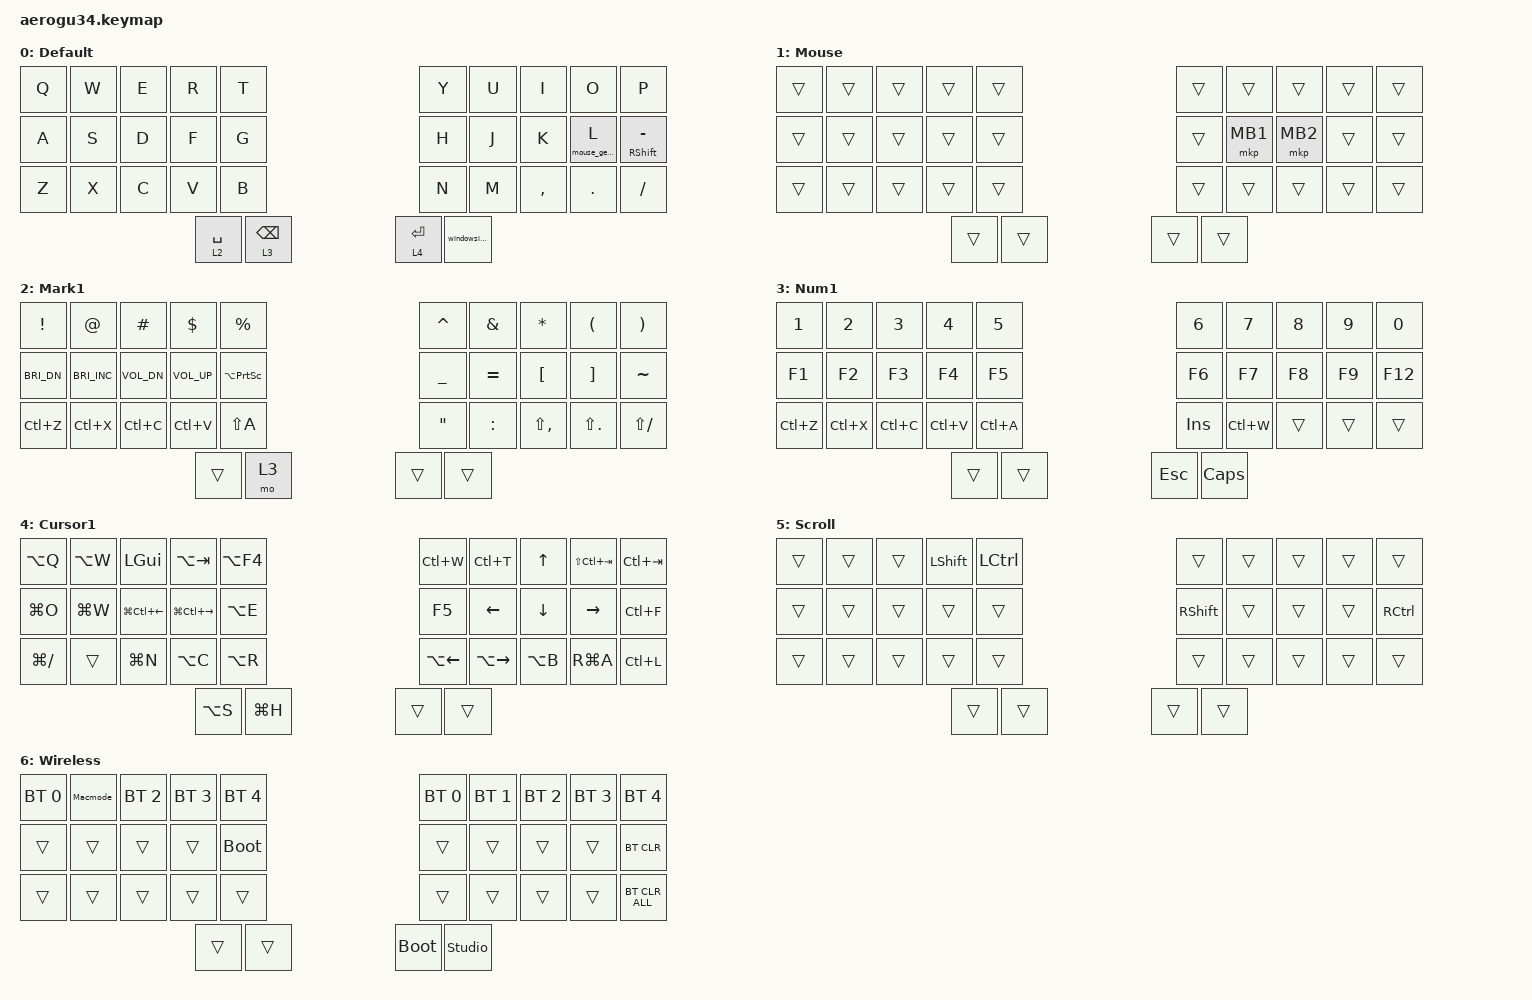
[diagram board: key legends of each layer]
#define ZMK_POINTING_DEFAULT_SCRL_VAL 150

#include <input/processors.dtsi>
#include <zephyr/dt-bindings/input/input-event-codes.h>
#include <mouse-gesture.dtsi>
#include <behaviors.dtsi>
#include <dt-bindings/zmk/bt.h>
#include <dt-bindings/zmk/keys.h>
#include <dt-bindings/zmk/pointing.h>

&mmv {
    delay-ms = <20>;
    trigger-period-ms = <5>;
    time-to-max-speed-ms = <100>;
    acceleration-exponent = <2>;
};

&msc {
    delay-ms = <3>;
    trigger-period-ms = <3>;
    time-to-max-speed-ms = <100>;
    acceleration-exponent = <0>;
};

/ {
    input_processors {
        zip_wheel_scaler: zip_wheel_scaler {
            compatible = "zmk,input-processor-scaler";
            #input-processor-cells = <2>;
            type = <INPUT_EV_REL>;
            codes = <INPUT_REL_WHEEL>;
            track-remainders;
        };
    };

    combos {
        compatible = "zmk,combos";

        Bt {
            bindings = <&mo 6>;
            key-positions = <30 31>;
            timeout-ms = <50>;
            require-prior-idle-ms = <150>;
        };

        /* J+K 同時押し: SCROLLレイヤー */

        scroll {
            bindings = <&mo 5>;
            key-positions = <16 17>;
            timeout-ms = <50>;
            require-prior-idle-ms = <150>;
        };

        control {
            bindings = <&kp LEFT_CONTROL>;
            key-positions = <20 21>;
        };

        alt {
            bindings = <&kp LEFT_ALT>;
            key-positions = <21 22>;
        };

        gui {
            bindings = <&kp LEFT_GUI>;
            key-positions = <22 23>;
        };

        tab {
            bindings = <&kp TAB>;
            key-positions = <27 28>;
        };

        esc {
            bindings = <&kp ESCAPE>;
            key-positions = <28 29>;
        };

        capslock {
            bindings = <&kp CAPSLOCK>;
            key-positions = <26 27>;
        };

        /* ジェスチャー起動は「Lキー長押し」(下の gesture_l ホールドタップ)に
         * 変更したので、mouse_gesture_activate コンボは廃止。
         * 1キーだけのコンボ(key-positions = <18>)が残っているとLの入力を
         * コンボが横取りして、Lが打てなくなる。 */
    };

    behaviors {
        re_kp: sensor_rotate_kp {
            compatible = "zmk,behavior-sensor-rotate-var";
            #sensor-binding-cells = <2>;
            bindings = <&kp>, <&kp>;
        };

        mouse_scrl: mouse_wheel_scrl {
            compatible = "zmk,behavior-sensor-rotate-var";
            #sensor-binding-cells = <2>;
            bindings = <&msc>, <&msc>;

            tap-ms = <20>;
        };

        /* Lキー: タップ=L、長押し=ジェスチャー認識ON。
         * 使い方: &gesture_l 0 L  (第1引数は未使用のダミー)
         * require-prior-idle-ms: 直前150ms以内に別キーを打っていたら
         * 必ずタップ扱い(高速タイプ中のLの誤ホールド防止)。 */

        gesture_l: gesture_l {
            compatible = "zmk,behavior-hold-tap";
            #binding-cells = <2>;
            flavor = "tap-preferred";
            tapping-term-ms = <200>;
            quick-tap-ms = <150>;
            require-prior-idle-ms = <150>;
            bindings = <&mouse_gesture>, <&kp>;
        };
    };

    macros {
        Macmode: new_macro {
            compatible = "zmk,behavior-macro";
            #binding-cells = <0>;
            bindings =
                <&bt BT_SEL 1>,
                <&macro_wait_time 200>,
                <&macro_tap>,
                <&tog 0>;

            label = "NEW_MACRO";
        };

        app_switcher: app_switcher {
            compatible = "zmk,behavior-macro";
            #binding-cells = <0>;
            bindings =
                <&macro_press>,
                <&kp GLOBE>,
                <&macro_tap>,
                <&kp UP_ARROW>,
                <&macro_release>,
                <&kp GLOBE>;

            label = "APP_SWITCHER";
        };

        controlcenter: controlcenter {
            compatible = "zmk,behavior-macro";
            #binding-cells = <0>;
            bindings =
                <&macro_press>,
                <&kp GLOBE>,
                <&macro_tap>,
                <&kp C>,
                <&macro_release>,
                <&kp GLOBE>;

            label = "CONTROLCENTER";
        };

        tuutincenter: tuutincenter {
            compatible = "zmk,behavior-macro";
            #binding-cells = <0>;
            bindings =
                <&macro_press>,
                <&kp GLOBE>,
                <&macro_tap>,
                <&kp N>,
                <&macro_release>,
                <&kp GLOBE>;

            label = "TUUTINCENTER";
        };

        docs: docs {
            compatible = "zmk,behavior-macro";
            #binding-cells = <0>;
            bindings =
                <&macro_press>,
                <&kp GLOBE>,
                <&macro_tap>,
                <&kp A>,
                <&macro_release>,
                <&kp GLOBE>;

            label = "DOCS";
        };

        applist: AppList {
            compatible = "zmk,behavior-macro";
            #binding-cells = <0>;
            bindings =
                <&macro_press>,
                <&kp GLOBE>,
                <&macro_tap>,
                <&kp LS(A)>,
                <&macro_release>,
                <&kp GLOBE>;

            label = "APPLIST";
        };

        homegamen: homegamen {
            compatible = "zmk,behavior-macro";
            #binding-cells = <0>;
            bindings =
                <&macro_press>,
                <&kp GLOBE>,
                <&macro_tap>,
                <&kp H>,
                <&macro_release>,
                <&kp GLOBE>;

            label = "HOMEGAMEN";
        };

        slideover1: slideover1 {
            compatible = "zmk,behavior-macro";
            #binding-cells = <0>;
            bindings =
                <&macro_press>,
                <&kp GLOBE>,
                <&macro_tap>,
                <&kp LA(LEFT_ARROW)>,
                <&macro_release>,
                <&kp GLOBE>;

            label = "SLIDEOVER1";
        };

        slideover2: slideover2 {
            compatible = "zmk,behavior-macro";
            #binding-cells = <0>;
            bindings =
                <&macro_press>,
                <&kp GLOBE>,
                <&macro_tap>,
                <&kp LA(RIGHT_ARROW)>,
                <&macro_release>,
                <&kp GLOBE>;

            label = "SLIDEOVER2";
        };

        Quicknote: Quicknote {
            compatible = "zmk,behavior-macro";
            #binding-cells = <0>;
            bindings =
                <&macro_press>,
                <&kp GLOBE>,
                <&macro_tap>,
                <&kp Q>,
                <&macro_release>,
                <&kp GLOBE>;

            label = "QUICKNOTE";
        };

        windowsime: windowsime {
            compatible = "zmk,behavior-macro";
            #binding-cells = <0>;
            bindings =
                <&macro_press>,
                <&kp LEFT_ALT>,
                <&macro_tap>,
                <&kp LEFT_SHIFT>,
                <&macro_release>,
                <&kp LEFT_ALT>;

            label = "WINDOWSIME";
        };
    };

    keymap {
        compatible = "zmk,keymap";

        default_layer {
            display-name = "Default";
            bindings = <
&kp Q        &kp W            &kp E  &kp R  &kp T  &kp Y        &kp U        &kp I      &kp O           &kp P
&kp A        &kp S            &kp D  &kp F  &kp G  &kp H        &kp J        &kp K      &gesture_l 0 L  &mt RIGHT_SHIFT MINUS
&kp Z        &kp X            &kp C  &kp V  &kp B  &kp N        &kp M        &kp COMMA  &kp DOT         &kp SLASH
&lt 2 SPACE  &lt 3 BACKSPACE                       &lt 4 ENTER  &windowsime
            >;
        };

        MOUSE {
            display-name = "Mouse";
            bindings = <
&trans  &trans  &trans  &trans  &trans  &trans  &trans    &trans    &trans  &trans
&trans  &trans  &trans  &trans  &trans  &trans  &mkp MB1  &mkp MB2  &trans  &trans
&trans  &trans  &trans  &trans  &trans  &trans  &trans    &trans    &trans  &trans
&trans  &trans                          &trans  &trans
            >;
        };

        MARK1 {
            display-name = "Mark1";
            bindings = <
&kp EXCLAMATION  &kp AT         &kp HASH      &kp DOLLAR    &kp PERCENT          &kp CARET          &kp AMPERSAND  &kp ASTERISK      &kp LEFT_PARENTHESIS  &kp RIGHT_PARENTHESIS
&kp C_BRI_DN     &kp C_BRI_INC  &kp C_VOL_DN  &kp C_VOL_UP  &kp LA(PRINTSCREEN)  &kp UNDERSCORE     &kp EQUAL      &kp LEFT_BRACKET  &kp RIGHT_BRACKET     &kp TILDE
&kp LC(Z)        &kp LC(X)      &kp LC(C)     &kp LC(V)     &kp LS(A)            &kp DOUBLE_QUOTES  &kp COLON      &kp LS(COMMA)     &kp LS(PERIOD)        &kp LS(SLASH)
&trans           &mo 3                                                           &trans             &trans
            >;
        };

        NUM1 {
            display-name = "Num1";
            bindings = <
&kp NUMBER_1  &kp NUMBER_2  &kp NUMBER_3  &kp NUMBER_4  &kp N5     &kp NUMBER_6  &kp NUMBER_7  &kp NUMBER_8  &kp NUMBER_9  &kp N0
&kp F1        &kp F2        &kp F3        &kp F4        &kp F5     &kp F6        &kp F7        &kp F8        &kp F9        &kp F12
&kp LC(Z)     &kp LC(X)     &kp LC(C)     &kp LC(V)     &kp LC(A)  &kp INSERT    &kp LC(W)     &trans        &trans        &trans
&trans        &trans                                               &kp ESCAPE    &kp CAPS
            >;
        };

        CURSOR1 {
            display-name = "Cursor1";
            bindings = <
&kp LA(Q)      &kp LA(W)  &kp LEFT_GUI            &kp LA(TAB)              &kp LA(F4)  &kp LC(W)           &kp LC(T)            &kp UP_ARROW    &kp LS(LC(TAB))  &kp LC(TAB)
&kp LG(O)      &kp LG(W)  &kp LG(LC(LEFT_ARROW))  &kp LG(LC(RIGHT_ARROW))  &kp LA(E)   &kp F5              &kp LEFT_ARROW       &kp DOWN_ARROW  &kp RIGHT_ARROW  &kp LC(F)
&kp LG(SLASH)  &trans     &kp LG(N)               &kp LA(C)                &kp LA(R)   &kp LA(LEFT_ARROW)  &kp LA(RIGHT_ARROW)  &kp LA(B)       &kp RG(A)        &kp LC(L)
&kp LA(S)      &kp LG(H)                                                               &trans              &trans
            >;
        };

        SCROLL {
            display-name = "Scroll";
            bindings = <
&trans  &trans  &trans  &kp LEFT_SHIFT  &kp LCTRL  &trans      &trans  &trans  &trans  &trans
&trans  &trans  &trans  &trans          &trans     &kp RSHIFT  &trans  &trans  &trans  &kp RCTRL
&trans  &trans  &trans  &trans          &trans     &trans      &trans  &trans  &trans  &trans
&trans  &trans                                     &trans      &trans
            >;
        };

        WIRELESS {
            display-name = "Wireless";
            bindings = <
&bt BT_SEL 0  &Macmode  &bt BT_SEL 2  &bt BT_SEL 3  &bt BT_SEL 4  &bt BT_SEL 0  &bt BT_SEL 1    &bt BT_SEL 2  &bt BT_SEL 3  &bt BT_SEL 4
&trans        &trans    &trans        &trans        &bootloader   &trans        &trans          &trans        &trans        &bt BT_CLR
&trans        &trans    &trans        &trans        &trans        &trans        &trans          &trans        &trans        &bt BT_CLR_ALL
&trans        &trans                                              &bootloader   &studio_unlock
            >;
        };
    };
};
